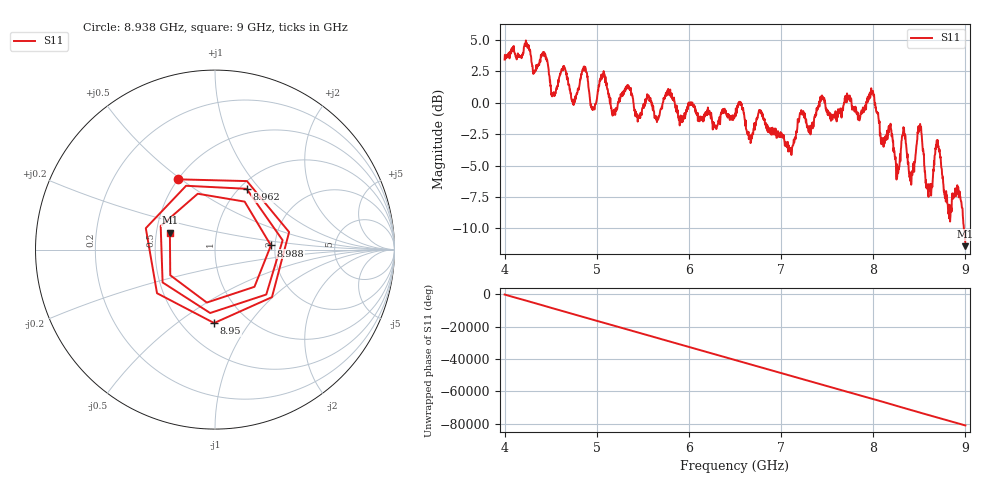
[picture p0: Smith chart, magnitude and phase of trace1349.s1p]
! Created with skrf 1.8.0 (http://scikit-rf.org).
# Hz S RI R 50.0
!freq ReS11 ImS11
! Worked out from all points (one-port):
!   1601 points, 4 GHz to 9 GHz, reference 50 ohm
!   lowest |S11| = -11.4 dB at 9 GHz (marker M1), VSWR 1.73, Z = 29.5 + j5.95 ohm
!   |S11| at or under -10 dB: 8.983472 GHz to end of sweep
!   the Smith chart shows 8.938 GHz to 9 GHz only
!   S11 on the Smith chart (normalised r, x): 8.938 GHz: 0.50, +0.49; 8.95 GHz: 0.71, -0.70; 8.962 GHz: 1.08, +0.85; 8.988 GHz: 1.90, +0.10; 9 GHz: 0.59, +0.12
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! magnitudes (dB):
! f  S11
! 4 GHz  3.4
! 4.428 GHz  4.0
! 4.531 GHz  0.7
! 4.625 GHz  2.6
! 4.747 GHz  0.1
! 4.866 GHz  2.9
! 4.953 GHz  -0.6
! 5.062 GHz  2.2
! 5.25 GHz  0.1
! 5.875 GHz  -0.8
! 6.5 GHz  -1.0
! 7.125 GHz  -3.4
! 7.222 GHz  -0.7
! 7.75 GHz  0.1
! 7.988 GHz  0.8
! 8.259 GHz  -5.9
! 8.328 GHz  -1.9
! 8.375 GHz  -4.9
! 8.419 GHz  -5.5
! 8.506 GHz  -1.9
! 8.597 GHz  -7.3
! 8.7 GHz  -3.0
! 8.812 GHz  -8.6
! 8.938 GHz  -7.1
! 8.95 GHz  -7.8
! 8.962 GHz  -8.4
! 8.988 GHz  -10.1
! 9 GHz  -11.4
